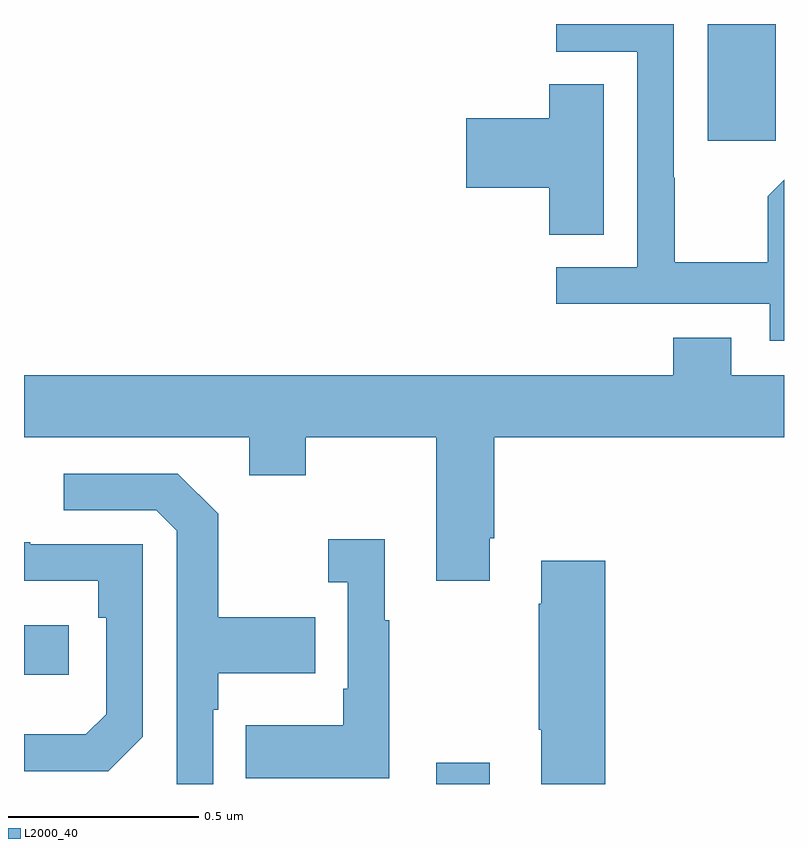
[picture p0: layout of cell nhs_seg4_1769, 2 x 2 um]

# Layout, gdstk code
import gdstk
lib = gdstk.Library(unit=1e-6, precision=1e-09)
def R(c, l, rs):  # rectangles x0, y0, x1, y1
    for r in rs: c.add(gdstk.rectangle(r[:2], r[2:], *l))
def P(c, l, *ps):  # polygons
    for p in ps: c.add(gdstk.Polygon(p, *l))
L2000_40 = (2000, 40)

nhs_seg4_1769 = lib.new_cell('nhs_seg4_1769')
R(nhs_seg4_1769, L2000_40, [(133.085,803.9,133.225,803.956), (132,804.188,132.118,804.318), (133.799,805.593,133.978,805.9)])
P(nhs_seg4_1769, L2000_40, [(134,805.49),(133.957,805.447),(133.957,805.273),(133.713,805.273),(133.713,805.496),(133.71,805.496),(133.71,805.9),(133.401,805.9),(133.401,805.827),(133.614,805.827),(133.614,805.26),(133.401,805.26),(133.401,805.164),(133.962,805.164),(133.962,805.067),(134,805.067)],
  [(133.525,805.742),(133.382,805.742),(133.382,805.652),(133.164,805.652),(133.164,805.469),(133.382,805.469),(133.382,805.345),(133.525,805.345)],
  [(133.225,804.547),(133.238,804.547),(133.238,804.812),(134,804.812),(134,804.976),(133.861,804.976),(133.861,805.075),(133.709,805.075),(133.709,804.976),(132,804.976),(132,804.812),(132.593,804.812),(132.593,804.713),(132.741,804.713),(132.741,804.812),(133.085,804.812),(133.085,804.435),(133.225,804.435)],
  [(132.498,804.095),(132.511,804.095),(132.511,804.191),(132.767,804.191),(132.767,804.339),(132.511,804.339),(132.511,804.611),(132.405,804.717),(132.105,804.717),(132.105,804.621),(132.348,804.621),(132.402,804.567),(132.402,803.9),(132.498,803.9)],
  [(132.961,804.331),(132.949,804.331),(132.949,804.544),(132.801,804.544),(132.801,804.431),(132.852,804.431),(132.852,804.151),(132.84,804.151),(132.84,804.055),(132.583,804.055),(132.583,803.915),(132.961,803.915)],
  [(132.312,804.024),(132.312,804.531),(132.017,804.531),(132.017,804.536),(132,804.536),(132,804.435),(132.196,804.435),(132.196,804.338),(132.216,804.338),(132.216,804.084),(132.163,804.031),(132,804.031),(132,803.934),(132.222,803.934)],
  [(133.529,804.487),(133.361,804.487),(133.361,804.374),(133.354,804.374),(133.354,804.043),(133.361,804.043),(133.361,803.9),(133.529,803.9)])

lib.write_gds('nhs_seg4_1769.gds')
